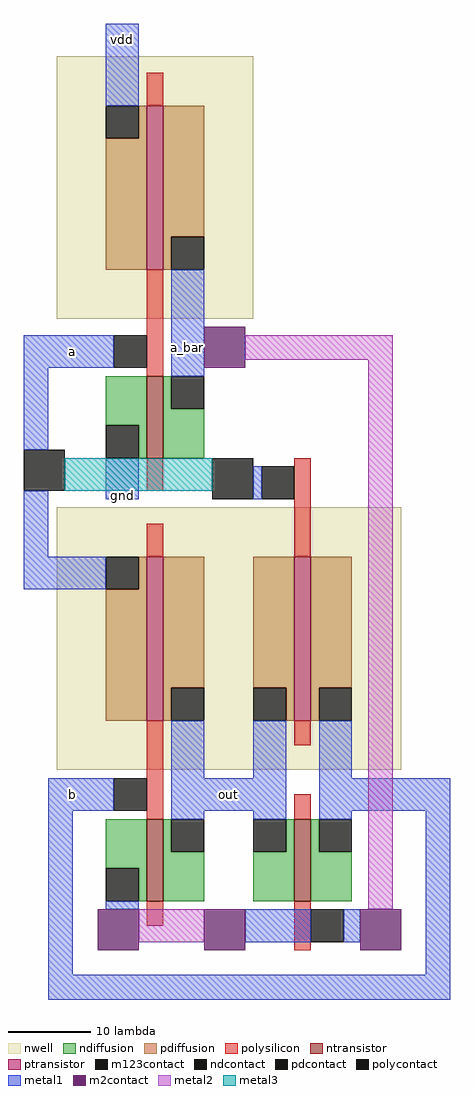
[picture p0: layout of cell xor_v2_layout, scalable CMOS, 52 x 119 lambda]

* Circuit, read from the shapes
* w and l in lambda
.subckt xor_v2_layout a a_bar b gnd out vdd
M1 out b a_bar VSUBS nfet w=10 l=2
M2 a_bar a gnd VSUBS nfet w=10 l=2
M3 b a_bar out VSUBS nfet w=10 l=2
M4 out b a n1 pfet w=20 l=2
M5 a_bar a vdd n2 pfet w=20 l=2
M6 b a out n1 pfet w=20 l=2
.ends

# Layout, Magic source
magic
tech scmos
<< nwell >>
rect -42 22 -18 54
rect -42 -33 0 -1
<< ntransistor >>
rect -31 5 -29 15
rect -31 -49 -29 -39
rect -13 -49 -11 -39
<< ptransistor >>
rect -31 28 -29 48
rect -31 -27 -29 -7
rect -13 -27 -11 -7
<< ndiffusion >>
rect -36 9 -31 15
rect -32 5 -31 9
rect -29 11 -28 15
rect -29 5 -24 11
rect -36 -45 -31 -39
rect -32 -49 -31 -45
rect -29 -43 -28 -39
rect -29 -49 -24 -43
rect -14 -43 -13 -39
rect -18 -49 -13 -43
rect -11 -43 -10 -39
rect -11 -49 -6 -43
<< pdiffusion >>
rect -32 44 -31 48
rect -36 28 -31 44
rect -29 32 -24 48
rect -29 28 -28 32
rect -32 -11 -31 -7
rect -36 -27 -31 -11
rect -29 -23 -24 -7
rect -29 -27 -28 -23
rect -18 -23 -13 -7
rect -14 -27 -13 -23
rect -11 -23 -6 -7
rect -11 -27 -10 -23
<< ndcontact >>
rect -36 5 -32 9
rect -28 11 -24 15
rect -36 -49 -32 -45
rect -28 -43 -24 -39
rect -18 -43 -14 -39
rect -10 -43 -6 -39
<< pdcontact >>
rect -36 44 -32 48
rect -28 28 -24 32
rect -36 -11 -32 -7
rect -28 -27 -24 -23
rect -18 -27 -14 -23
rect -10 -27 -6 -23
<< polysilicon >>
rect -31 48 -29 52
rect -31 15 -29 28
rect -31 1 -29 5
rect -31 -7 -29 -3
rect -13 -7 -11 5
rect -31 -39 -29 -27
rect -13 -30 -11 -27
rect -13 -39 -11 -36
rect -31 -52 -29 -49
rect -13 -55 -11 -49
<< polycontact >>
rect -35 16 -31 20
rect -17 0 -13 4
rect -35 -38 -31 -34
rect -11 -54 -7 -50
<< metal1 >>
rect -36 48 -32 58
rect -46 16 -35 20
rect -46 6 -43 16
rect -28 15 -24 28
rect -46 -7 -43 1
rect -36 0 -32 5
rect -18 0 -17 4
rect -46 -11 -36 -7
rect -28 -34 -24 -27
rect -18 -34 -14 -27
rect -43 -38 -35 -34
rect -28 -38 -14 -34
rect -43 -58 -40 -38
rect -28 -39 -24 -38
rect -18 -39 -14 -38
rect -10 -34 -6 -27
rect -10 -38 6 -34
rect -10 -39 -6 -38
rect -36 -50 -32 -49
rect -19 -54 -11 -50
rect -7 -54 -5 -50
rect 3 -58 6 -38
rect -43 -61 6 -58
<< m2contact >>
rect -24 16 -19 21
rect -37 -55 -32 -50
rect -24 -55 -19 -50
rect -5 -55 0 -50
<< metal2 >>
rect -19 17 -1 20
rect -4 -50 -1 17
rect -32 -54 -24 -50
<< m123contact >>
rect -46 1 -41 6
rect -23 0 -18 5
<< metal3 >>
rect -41 1 -23 5
<< labels >>
rlabel metal1 -41 17 -39 19 3 a
rlabel metal1 -41 -37 -39 -35 1 b
rlabel metal1 -35 0 -33 1 1 gnd
rlabel metal1 -35 55 -33 57 5 vdd
rlabel metal1 -23 -37 -19 -35 1 out
rlabel metal1 -27 17 -25 20 1 a_bar
<< end >>
